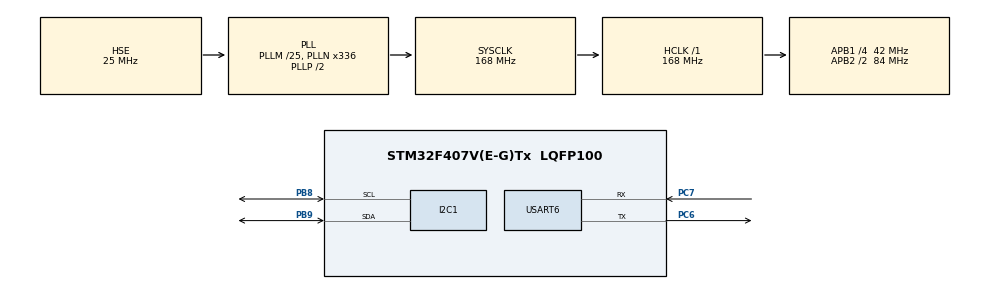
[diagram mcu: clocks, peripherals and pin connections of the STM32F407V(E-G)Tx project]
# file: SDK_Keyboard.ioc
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Mcu.Family=STM32F4
Mcu.Name=STM32F407V(E-G)Tx
Mcu.Package=LQFP100
NVIC.PriorityGroup=NVIC_PRIORITYGROUP_4
PA13.Mode=JTAG_5_pins
PA13.Signal=SYS_JTMS-SWDIO
PA14.Mode=JTAG_5_pins
PA14.Signal=SYS_JTCK-SWCLK
PA15.Mode=JTAG_5_pins
PA15.Signal=SYS_JTDI
PB3.Mode=JTAG_5_pins
PB3.Signal=SYS_JTDO-SWO
PB4.Mode=JTAG_5_pins
PB4.Signal=SYS_JTRST
PB8.Mode=I2C
PB8.Signal=I2C1_SCL
PB9.Mode=I2C
PB9.Signal=I2C1_SDA
PC6.Mode=Asynchronous
PC6.Signal=USART6_TX
PC7.Mode=Asynchronous
PC7.Signal=USART6_RX
PH0-OSC_IN.Mode=HSE-External-Oscillator
PH0-OSC_IN.Signal=RCC_OSC_IN
PH1-OSC_OUT.Mode=HSE-External-Oscillator
PH1-OSC_OUT.Signal=RCC_OSC_OUT
ProjectManager.HeapSize=0x200
ProjectManager.StackSize=0x400
ProjectManager.TargetToolchain=STM32CubeIDE
RCC.48MHZClocksFreq_Value=84000000
RCC.AHBFreq_Value=168000000
RCC.APB1CLKDivider=RCC_HCLK_DIV4
RCC.APB1Freq_Value=42000000
RCC.APB1TimFreq_Value=84000000
RCC.APB2CLKDivider=RCC_HCLK_DIV2
RCC.APB2Freq_Value=84000000
RCC.APB2TimFreq_Value=168000000
RCC.CortexFreq_Value=168000000
RCC.HCLKFreq_Value=168000000
RCC.HSE_VALUE=25000000
RCC.HSI_VALUE=16000000
RCC.LSE_VALUE=32768
RCC.PLLM=25
RCC.PLLN=336
RCC.PLLSourceVirtual=RCC_PLLSOURCE_HSE
RCC.SYSCLKFreq_VALUE=168000000
RCC.SYSCLKSource=RCC_SYSCLKSOURCE_PLLCLK
RCC.VCOOutputFreq_Value=336000000
USART6.VirtualMode=VM_ASYNC
board=custom

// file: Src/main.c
/* USER CODE BEGIN Header */
/**
  ******************************************************************************
  * @file           : main.c
  * @brief          : Main program body
  ******************************************************************************
  * @attention
  *
  * <h2><center>&copy; Copyright (c) 2019 STMicroelectronics.
  * All rights reserved.</center></h2>
  *
  * This software component is licensed by ST under BSD 3-Clause license,
  * the "License"; You may not use this file except in compliance with the
  * License. You may obtain a copy of the License at:
  *                        opensource.org/licenses/BSD-3-Clause
  *
  ******************************************************************************
  */
/* USER CODE END Header */

#include "main.h"
#include "i2c.h"
#include "usart.h"
#include "gpio.h"

/* USER CODE BEGIN Includes */
#include "kb.h"
#include "sdk_uart.h"
#include "pca9538.h"
#include "oled.h"
#include "fonts.h"
#include "calculator.h"
#include <stdio.h>
/* USER CODE END Includes */

void SystemClock_Config(void);
/* USER CODE BEGIN PFP */
void Calculator_Run(void);
/* USER CODE END PFP */

int main(void)
{

  /* MCU Configuration--------------------------------------------------------*/

  /* Reset of all peripherals, Initializes the Flash interface and the Systick. */
  HAL_Init();

  /* Configure the system clock */
  SystemClock_Config();

  /* Initialize all configured peripherals */
  MX_GPIO_Init();
  MX_I2C1_Init();
  MX_USART6_UART_Init();
  /* USER CODE BEGIN 2 */
  oled_Init();

  /* USER CODE END 2 */

  /* Infinite loop */
  /* USER CODE BEGIN WHILE */
  Calculator_Run();
  while (1)
  {

    /* USER CODE END WHILE */

  }
}

void SystemClock_Config(void)
{
  RCC_OscInitTypeDef RCC_OscInitStruct = {0};
  RCC_ClkInitTypeDef RCC_ClkInitStruct = {0};

  /** Configure the main internal regulator output voltage
  */
  __HAL_RCC_PWR_CLK_ENABLE();
  __HAL_PWR_VOLTAGESCALING_CONFIG(PWR_REGULATOR_VOLTAGE_SCALE1);
  /** Initializes the CPU, AHB and APB busses clocks
  */
  RCC_OscInitStruct.OscillatorType = RCC_OSCILLATORTYPE_HSE;
  RCC_OscInitStruct.HSEState = RCC_HSE_ON;
  RCC_OscInitStruct.PLL.PLLState = RCC_PLL_ON;
  RCC_OscInitStruct.PLL.PLLSource = RCC_PLLSOURCE_HSE;
  RCC_OscInitStruct.PLL.PLLM = 25;
  RCC_OscInitStruct.PLL.PLLN = 336;
  RCC_OscInitStruct.PLL.PLLP = RCC_PLLP_DIV2;
  RCC_OscInitStruct.PLL.PLLQ = 4;
  if (HAL_RCC_OscConfig(&RCC_OscInitStruct) != HAL_OK)
  {
    Error_Handler();
  }
  /** Initializes the CPU, AHB and APB busses clocks
  */
  RCC_ClkInitStruct.ClockType = RCC_CLOCKTYPE_HCLK|RCC_CLOCKTYPE_SYSCLK
                              |RCC_CLOCKTYPE_PCLK1|RCC_CLOCKTYPE_PCLK2;
  RCC_ClkInitStruct.SYSCLKSource = RCC_SYSCLKSOURCE_PLLCLK;
  RCC_ClkInitStruct.AHBCLKDivider = RCC_SYSCLK_DIV1;
  RCC_ClkInitStruct.APB1CLKDivider = RCC_HCLK_DIV4;
  RCC_ClkInitStruct.APB2CLKDivider = RCC_HCLK_DIV2;

  if (HAL_RCC_ClockConfig(&RCC_ClkInitStruct, FLASH_LATENCY_5) != HAL_OK)
  {
    Error_Handler();
  }
}

/* USER CODE BEGIN 4 */
static Calculator calculator;

static void DisplayLine(uint8_t y, char *text) {
    oled_SetCursor(0, y);
    oled_WriteString(text, Font_7x10, White);
}

static void Calculator_Display(void) {
    char text[19];
    oled_Fill(Black);
    DisplayLine(0, "INTEGER CALCULATOR");
    snprintf(text, sizeof(text), "A: %s%ld", calculator.a == 0 && !calculator.operand && calculator.negative ? "-" : "", (long)calculator.a);
    DisplayLine(12, text);
    snprintf(text, sizeof(text), "%c B: %s%ld", calculator.op, calculator.b == 0 && calculator.operand && calculator.negative ? "-" : "", (long)calculator.b);
    DisplayLine(24, text);
    if (calculator.error) DisplayLine(36, "OVERFLOW: hold *");
    else if (calculator.done) {
        snprintf(text, sizeof(text), "= %ld", (long)calculator.result);
        DisplayLine(36, text);
    } else DisplayLine(36, calculator.operand ? "Enter B, # =" : "Enter A, * op");
    DisplayLine(48, "* op  # =");

    oled_UpdateScreen();
}

/* Physical rows from top to bottom: 123 / 456 / 789 / *0#. */
static char Keyboard_Scan(void) {
    static const uint8_t rows[4] = {ROW1, ROW2, ROW3, ROW4};
    static const char keys[4][3] = {{'1','2','3'}, {'4','5','6'}, {'7','8','9'}, {'*','0','#'}};
    char pressed = 0;
    for (unsigned row = 0; row < 4; ++row) {
        uint8_t value = Check_Row(rows[row]);
        if (value == 0xFF) return 0;
        if (!value) continue;
        if (pressed) return 0; /* Ignore chords across rows. */
        pressed = keys[row][value == 4 ? 0 : value == 2 ? 1 : 2];
    }
    return pressed;
}

void Calculator_Run(void) {
    char candidate = 0, stable = 0;
    uint32_t changed = HAL_GetTick(), pressed_at = 0;
    uint8_t held = 0;
    Calculator_Clear(&calculator);
    Calculator_Display();
    while (1) {
        char key = Keyboard_Scan();
        uint32_t now = HAL_GetTick();
        if (key != candidate) { candidate = key; changed = now; }
        if (candidate != stable && (uint32_t)(now - changed) >= 30) {
            if (stable && !held) {
                Calculator_Key(&calculator, stable);
                Calculator_Display();
            }
            stable = candidate; pressed_at = now; held = 0;
        }
        if (stable && !held && (uint32_t)(now - pressed_at) >= 700) {
            if (stable == '*') { Calculator_Clear(&calculator); held = 1; }
            else if (stable == '#') { Calculator_Negate(&calculator); held = 1; }
            if (held) Calculator_Display();
        }
        HAL_Delay(5);
    }
}
/* USER CODE END 4 */

void Error_Handler(void)
{
}

/************************ (C) COPYRIGHT STMicroelectronics *****END OF FILE****/
